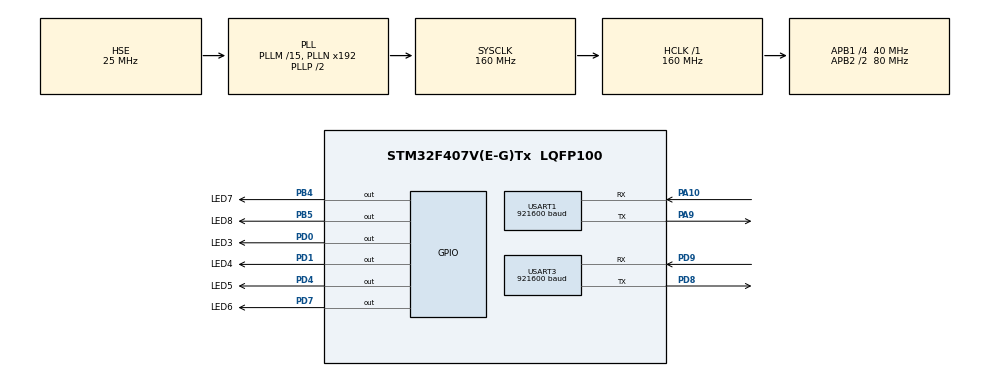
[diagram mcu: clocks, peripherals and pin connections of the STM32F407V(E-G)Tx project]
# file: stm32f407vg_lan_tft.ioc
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Mcu.Family=STM32F4
Mcu.Name=STM32F407V(E-G)Tx
Mcu.Package=LQFP100
NVIC.PriorityGroup=NVIC_PRIORITYGROUP_4
PA10.Mode=Asynchronous
PA10.Signal=USART1_RX
PA13.Mode=Serial_Wire
PA13.Signal=SYS_JTMS-SWDIO
PA14.Mode=Serial_Wire
PA14.Signal=SYS_JTCK-SWCLK
PA9.Mode=Asynchronous
PA9.Signal=USART1_TX
PB4.GPIO_Label=LED7
PB4.Signal=GPIO_Output
PB5.GPIO_Label=LED8
PB5.Signal=GPIO_Output
PD0.GPIO_Label=LED3
PD0.Signal=GPIO_Output
PD1.GPIO_Label=LED4
PD1.Signal=GPIO_Output
PD4.GPIO_Label=LED5
PD4.Signal=GPIO_Output
PD7.GPIO_Label=LED6
PD7.Signal=GPIO_Output
PD8.Mode=Asynchronous
PD8.Signal=USART3_TX
PD9.Mode=Asynchronous
PD9.Signal=USART3_RX
PH0-OSC_IN.Mode=HSE-External-Oscillator
PH0-OSC_IN.Signal=RCC_OSC_IN
PH1-OSC_OUT.Mode=HSE-External-Oscillator
PH1-OSC_OUT.Signal=RCC_OSC_OUT
ProjectManager.HeapSize=0x200
ProjectManager.StackSize=0x400
ProjectManager.TargetToolchain=EWARM V8.50
RCC.48MHZClocksFreq_Value=80000000
RCC.AHBFreq_Value=160000000
RCC.APB1CLKDivider=RCC_HCLK_DIV4
RCC.APB1Freq_Value=40000000
RCC.APB1TimFreq_Value=80000000
RCC.APB2CLKDivider=RCC_HCLK_DIV2
RCC.APB2Freq_Value=80000000
RCC.APB2TimFreq_Value=160000000
RCC.CortexFreq_Value=160000000
RCC.HCLKFreq_Value=160000000
RCC.HSE_VALUE=25000000
RCC.HSI_VALUE=16000000
RCC.LSE_VALUE=32768
RCC.PLLM=15
RCC.PLLSourceVirtual=RCC_PLLSOURCE_HSE
RCC.SYSCLKFreq_VALUE=160000000
RCC.SYSCLKSource=RCC_SYSCLKSOURCE_PLLCLK
RCC.VCOOutputFreq_Value=320000000
USART1.BaudRate=921600
USART1.VirtualMode=VM_ASYNC
USART3.BaudRate=921600
USART3.VirtualMode=VM_ASYNC
board=custom

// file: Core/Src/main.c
/* USER CODE BEGIN Header */
/**
  ******************************************************************************
  * @file           : main.c
  * @brief          : Main program body
  ******************************************************************************
  * @attention
  *
  * Copyright (c) 2026 STMicroelectronics.
  * All rights reserved.
  *
  * This software is licensed under terms that can be found in the LICENSE file
  * in the root directory of this software component.
  * If no LICENSE file comes with this software, it is provided AS-IS.
  *
  ******************************************************************************
  */
/* USER CODE END Header */
#include "main.h"

/* USER CODE BEGIN Includes */
#include <string.h>
#include "lwip/init.h"
#include "lwip/netif.h"
#include "lwip/dhcp.h"
#include "lwip/timeouts.h"
#include "lwip/ip4_addr.h"
#include "netif/ethernet.h"
#include "ethernetif.h"
#include "tcp_echo_client.h"
#include "stm32f4xx_hal_eth.h"
#include "lwip/stats.h"
#include "tft_app.h"
#include "device_config.h"
#include "config_server.h"
#include "config_http.h"
#include "diag_cpu.h"
#include "clock.h"
#include "can_bus.h"
#include "diag_can.h"
#include "keypad.h"
#include "debug_uart.h"
/* USER CODE END Includes */

UART_HandleTypeDef huart1;
UART_HandleTypeDef huart3;

/* USER CODE BEGIN PV */
struct netif gnetif;
extern ETH_HandleTypeDef EthHandle; /* defined in ethernetif.c */
/* USER CODE END PV */

void SystemClock_Config(void);
static void MX_GPIO_Init(void);
static void MX_USART1_UART_Init(void);
static void MX_USART3_UART_Init(void);
static void Test_Blink_LEDs(void);
/* USER CODE BEGIN PFP */
static void MX_LWIP_Init(void);
static void netif_status_callback(struct netif *netif);
/* USER CODE END PFP */

/* USER CODE BEGIN 0 */

/* Keypad commands for the display. A group ended by '#':
     no characters     -> next page ("#")
     1..3 digits       -> that page, as in the "n/N" indicator ("3#", "12#");
                          a number with no such page is ignored
   Anything else is ordinary input: passwords are at least 4 digits or start
   with a letter, so they never look like a page command. Digits before '#',
   not after: the module sends a group only when '#' ends it. */
#define KBD_PAGE_CMD_MAX_DIGITS  3U

static void on_keypad(const KeypadPacket *p)
{
  uint16_t number = 0U;
  uint8_t  n;

  if ((p->type != KBD_PKT_GROUP) || (p->len == 0U) || (p->data[0] != KBD_END_ENTER))
  {
    return;
  }
  n = (uint8_t)(p->len - 1U);                 /* characters after the reason byte */
  if (n == 0U)
  {
    TFT_App_NextPage();
    return;
  }
  if (n > KBD_PAGE_CMD_MAX_DIGITS)
  {
    return;
  }
  for (uint8_t i = 1U; i <= n; i++)
  {
    if ((p->data[i] < (uint8_t)'0') || (p->data[i] > (uint8_t)'9'))
    {
      return;                                 /* a letter: not a page command */
    }
    number = (uint16_t)(number * 10U + (uint16_t)(p->data[i] - (uint8_t)'0'));
  }
  if (number <= 255U)
  {
    (void)TFT_App_ShowPage((uint8_t)number);  /* 0 or past the last page: ignored */
  }
}

/* USER CODE END 0 */

int main(void)
{

  /* MCU Configuration--------------------------------------------------------*/

  /* Reset of all peripherals, Initializes the Flash interface and the Systick. */
  HAL_Init();

  /* USER CODE BEGIN Init */
  /* Hold the LAN8720 in reset (PB10/nRST) as early as firmware can run, before
     R3's 10k pull-up can release it on its own while VDD/clocks are still
     ramping up. Previously nRST wasn't touched by firmware until deep inside
     HAL_ETH_MspInit() (called from MX_LWIP_Init() below), well after
     SystemClock_Config() and other peripheral inits - confirmed on real
     hardware (PROJECT_GUIDE.md) that manually grounding nRST starting from
     power-up (instead of relying on R3 + this late firmware assert) was
     needed to reliably get the LAN8720's REFCLKO block to start. Asserting
     nRST here, before anything else, removes most of that gap; the actual
     5 s hold + release still happens later in HAL_ETH_MspInit(). */
  {
    GPIO_InitTypeDef nrst_early = {0};
    __HAL_RCC_GPIOB_CLK_ENABLE();
    nrst_early.Pin = GPIO_PIN_10;
    nrst_early.Mode = GPIO_MODE_OUTPUT_PP;
    nrst_early.Pull = GPIO_NOPULL;
    nrst_early.Speed = GPIO_SPEED_FREQ_LOW;
    HAL_GPIO_Init(GPIOB, &nrst_early);
    HAL_GPIO_WritePin(GPIOB, GPIO_PIN_10, GPIO_PIN_RESET);
  }
  /* USER CODE END Init */

  /* Configure the system clock */
  SystemClock_Config();

  /* Initialize all configured peripherals */
  MX_GPIO_Init();
  TFT_App_GPIO_Init();
  MX_USART1_UART_Init();
  MX_USART3_UART_Init();
  /* USER CODE BEGIN 2 */
  /* USART1 debug output through a DMA ring from here on - Debug_Print()
     no longer blocks the main loop (see Core/Inc/debug_uart.h). */
  debug_uart_init();
  /* Print the firmware build date/time on every boot (cold-boot or
     NVIC_SystemReset() escalation alike) so a pasted log can always be
     matched to the exact binary that produced it - __DATE__/__TIME__ are
     baked in by the compiler at build time, so this can't go stale the way
     a manually-maintained version number could. */
  {
    char boot_msg[64];
    snprintf(boot_msg, sizeof(boot_msg), "\r\n[boot] firmware built %s %s\r\n", __DATE__, __TIME__);
    Debug_Print(boot_msg);
  }
  /* Load persisted settings (server address, device name, static-IP-vs-DHCP
     choice - see Config/Inc/device_config.h) before anything that needs
     them: the SETUP page's SERVER:/NAME: rows below, and MX_LWIP_Init()'s
     static/DHCP branch further down. Falls back to compiled-in defaults on
     first boot (blank Flash) or a version mismatch. */
  device_config_load();

  /* TFT bring-up runs before lwIP so its blocking HAL_Delay()s can't stall
     Ethernet RX/DHCP; the panel just shows a static test pattern afterwards. */
  TFT_App_SPI3_Init();
  {
    const DeviceConfig *cfg = device_config_get();
    char server_str[24];
    snprintf(server_str, sizeof(server_str), "%u.%u.%u.%u:%u",
             cfg->server_ip[0], cfg->server_ip[1], cfg->server_ip[2], cfg->server_ip[3], cfg->server_port);
    TFT_App_SmokeTest(server_str, cfg->name);
  }
  MX_LWIP_Init();
  tcp_echo_client_init();
  config_server_init();
  config_http_init();
  clock_init();     /* Clock/: NTP time for the CLOCK page, see clock_config.h */
  diag_can_init();      /* Diag/: CAN loopback self-test if DIAG_CAN_LOOPBACK */
  (void)can_bus_init(); /* CAN/: CAN1 on J3, receive + log, see can_config.h */
  keypad_init();        /* Keypad/: I2C1 slave on SV5, 4x4 keypad module, see keypad_config.h */
  keypad_set_handler(on_keypad);  /* '#' / 'N#' switch display pages */
  diag_cpu_init();  /* Diag/: main-loop load stats, see diag_config.h */
  /* USER CODE END 2 */

  /* Infinite loop */
  /* USER CODE BEGIN WHILE */
  while (1)
  {
    diag_cpu_loop();
    Test_Blink_LEDs();
    diag_cpu_begin(DIAG_SECT_HTTP);
    config_http_poll();
    diag_cpu_end(DIAG_SECT_HTTP);

    /* A config save (from the web page or the port-7000 text protocol) bumps
       device_config_revision(). React here, so neither config module needs
       to know about the display or the TCP client: refresh SERVER:/NAME: on
       the SETUP page, and if the server address itself changed, drop the
       current connection and reconnect to the new one right away. IP-mode
       changes are not handled here - they need a reboot (MX_LWIP_Init()). */
    {
      static uint32_t seen_rev = 0U;
      static uint8_t  seen_ip[4];
      static uint16_t seen_port;
      static uint8_t  seen_init = 0U;
      const DeviceConfig *cfg = device_config_get();

      if (seen_init == 0U)
      {
        memcpy(seen_ip, cfg->server_ip, sizeof(seen_ip));
        seen_port = cfg->server_port;
        seen_init = 1U;
      }
      if (device_config_revision() != seen_rev)
      {
        char server_str[24];

        seen_rev = device_config_revision();
        snprintf(server_str, sizeof(server_str), "%u.%u.%u.%u:%u",
                 cfg->server_ip[0], cfg->server_ip[1], cfg->server_ip[2], cfg->server_ip[3], cfg->server_port);
        TFT_App_UpdateInfo(server_str, cfg->name);

        if ((memcmp(seen_ip, cfg->server_ip, sizeof(seen_ip)) != 0) || (seen_port != cfg->server_port))
        {
          memcpy(seen_ip, cfg->server_ip, sizeof(seen_ip));
          seen_port = cfg->server_port;
          tcp_echo_client_restart();
        }
      }
    }

    /* Drain all pending ETH RX frames. Called unconditionally: the internal
       do-while exits immediately when nothing is pending, so the cost is one
       cheap HAL_ETH_ReadData call that returns NULL.  Avoids a race where
       EthRxPending was already cleared when the last ISR fired but a frame
       is still waiting in the DMA descriptor ring. */
    diag_cpu_begin(DIAG_SECT_ETH);
    ethernetif_input(&gnetif);

    /* Poll PHY link state and lwIP's own timers (ARP, DHCP, TCP, ...) -
       NO_SYS=1 means nothing else is going to do this for us. */
    ethernetif_poll_link(&gnetif);
    diag_cpu_end(DIAG_SECT_ETH);
    diag_cpu_begin(DIAG_SECT_LWIP);
    sys_check_timeouts();
    diag_cpu_end(DIAG_SECT_LWIP);

    can_bus_poll();  /* CAN1 RX queue -> log/handler, bus state */
    diag_can_poll();  /* loopback self-test step (empty stub when off) */
    keypad_poll();    /* keypad packets from the I2C1 interrupt -> log/handler */

    /* DHCP fallback: in DHCP mode, if the link is up but no DHCP server has
       answered within DHCP_FALLBACK_MS, take the configured static IP ("IP
       по умолчанию", see device_config_fallback_addr()) so a PC can still
       reach the web page - e.g. module cabled straight to a PC, no router.
       While on the fallback address DHCP keeps trying: dhcp_start() is
       re-armed every DHCP_RETRY_MS (the client's own backoff alone was seen
       to never bind again), and a lease simply replaces the fallback
       address (dhcp_bind() -> netif_set_addr()).
       Reboot escalation: on this board DHCP sometimes can't succeed after a
       cold power-on until the MCU is rebooted (see the "no IP" watchdog
       below and docs/PROJECT_GUIDE.md) - seen again here: stuck on the
       default IP for 10+ minutes behind a working router, one soft reset
       and the lease came at once. So if there is still no lease after
       DHCP_FALLBACK_REBOOT_MS on the default IP and nobody is using that
       address (no web page / port 7000 request since the fallback, or none
       for CONFIG_IDLE_MS), reboot. With a PC cabled straight to the module
       the page is reachable in each window and opening it stops the reboots. */
    #define DHCP_FALLBACK_MS        10000U
    #define DHCP_RETRY_MS           30000U
    #define DHCP_FALLBACK_REBOOT_MS 60000U
    #define CONFIG_IDLE_MS          300000U
    {
      static uint8_t  dhcp_waiting = 0U;
      static uint32_t dhcp_wait_since = 0U;
      static uint32_t dhcp_last_retry = 0U;
      static uint8_t  on_fallback = 0U;
      static uint32_t fallback_since = 0U;

      if (device_config_get()->use_static_ip != 0U)
      {
        dhcp_waiting = 0U;
        on_fallback = 0U;
      }
      else if (!netif_is_link_up(&gnetif))
      {
        /* on_fallback deliberately kept: an ETH reset drops the link for a
           moment, and restarting the reboot timer on every one of those
           kept the module on the default IP for 5 minutes. */
        dhcp_waiting = 0U;
      }
      else if (ip4_addr_isany_val(*netif_ip4_addr(&gnetif)))
      {
        if (dhcp_waiting == 0U)
        {
          dhcp_waiting = 1U;
          dhcp_wait_since = HAL_GetTick();
        }
        else if ((HAL_GetTick() - dhcp_wait_since) >= DHCP_FALLBACK_MS)
        {
          uint8_t a[4], m[4], g[4];
          ip4_addr_t ipaddr, netmask, gw;

          device_config_fallback_addr(a, m, g);
          IP4_ADDR(&ipaddr,  a[0], a[1], a[2], a[3]);
          IP4_ADDR(&netmask, m[0], m[1], m[2], m[3]);
          IP4_ADDR(&gw,      g[0], g[1], g[2], g[3]);
          netif_set_addr(&gnetif, &ipaddr, &netmask, &gw);
          Debug_Print("[lwip] no DHCP answer, using default IP\r\n");
          dhcp_waiting = 0U;
          dhcp_last_retry = HAL_GetTick();
          on_fallback = 1U;
          fallback_since = HAL_GetTick();
        }
      }
      else
      {
        dhcp_waiting = 0U;
        if (dhcp_supplied_address(&gnetif))
        {
          on_fallback = 0U;
        }
        else if (netif_is_up(&gnetif) && ((HAL_GetTick() - dhcp_last_retry) >= DHCP_RETRY_MS))
        {
          dhcp_last_retry = HAL_GetTick();
          dhcp_start(&gnetif);
          Debug_Print("[lwip] on default IP, retrying DHCP\r\n");
        }

        if ((on_fallback != 0U) && ((HAL_GetTick() - fallback_since) >= DHCP_FALLBACK_REBOOT_MS))
        {
          const uint32_t acc = device_config_last_access();
          const uint8_t  in_use = (uint8_t)((acc != 0U) && ((int32_t)(acc - fallback_since) >= 0) &&
                                  ((HAL_GetTick() - acc) < CONFIG_IDLE_MS));
          if (in_use == 0U)
          {
            Debug_Print("[lwip] still no DHCP lease on default IP, rebooting MCU\r\n");
            HAL_Delay(50); /* let the UART finish transmitting before reset */
            NVIC_SystemReset();
          }
        }
      }
    }

    /* Only talk to the server once we actually have an IP (DHCP-assigned). */
    {
      uint8_t has_ip = (netif_is_up(&gnetif) && !ip4_addr_isany_val(*netif_ip4_addr(&gnetif))) ? 1U : 0U;
      /* Where the IP came from, for the DHCP: row: 'S' static mode,
         'D' DHCP lease, 'F' default IP after DHCP timeout, '-' none yet. */
      char ip_src = (device_config_get()->use_static_ip != 0U) ? 'S' :
                    dhcp_supplied_address(&gnetif) ? 'D' : has_ip ? 'F' : '-';

      /* Feed the TFT status screen the same state this block already needs
         anyway - see tft_app.h for the ip_addr/link_up/tcp_state contract.
         TFT_App_AlivePoll() rate-limits itself to 1 Hz internally, so
         calling it every loop iteration here is cheap. */
      diag_cpu_begin(DIAG_SECT_TFT);
      TFT_App_AlivePoll(has_ip ? ip4_addr_get_u32(netif_ip4_addr(&gnetif)) : 0U,
                        netif_is_link_up(&gnetif) ? 1U : 0U,
                        ip_src,
                        tcp_echo_client_state_char());
      diag_cpu_end(DIAG_SECT_TFT);

      /* NTP time (Clock/): paces itself - one request an hour once set */
      clock_poll(has_ip);

      /* On the default IP there is no route to the TCP server anyway, and the
         client's failed connects would only trigger ETH resets. */
      if (has_ip && (ip_src != 'F'))
      {
        diag_cpu_begin(DIAG_SECT_TCP);
        tcp_echo_client_poll();
        diag_cpu_end(DIAG_SECT_TCP);

        /* Show whatever the server just sent back on the LAST MSG: row for
           2 s (TFT_App_ShowReceived() handles the timing/blanking itself,
           non-blocking) - only when tcp_echo_client_poll() above actually
           drained something new, so an unrelated call here can't restart
           the 2 s timer on stale text. */
        {
          char rx_snapshot[220];  /* match tcp_echo_client.c's LAST_RX_SNAPSHOT_SIZE */
          if (tcp_echo_client_take_last_rx(rx_snapshot, sizeof(rx_snapshot)) > 0U)
          {
            diag_cpu_begin(DIAG_SECT_TFT);
            TFT_App_ShowReceived(rx_snapshot);
            diag_cpu_end(DIAG_SECT_TFT);
          }
        }
      }

      /* Watchdog: DHCP lease loss/renewal clears the netif's IP
         (dhcp_release_and_stop() -> netif_set_addr(ANY)) until a fresh
         lease completes - confirmed in lwIP source (dhcp.c). While the IP
         is missing, tcp_echo_client_poll() above is skipped entirely, so
         the existing "3 failed TCP connects -> ethernetif_reset()" recovery
         path never gets a chance to run either - there is otherwise no
         self-healing at all for a stuck DHCP renewal. Observed on real
         hardware: IP missing for an entire hour with no recovery (see
         PROJECT_GUIDE.md). DHCP on a healthy LAN completes in well under a
         second, so anything stuck this long needs the same hardware-level
         kick used for wedged TCP. Lowered from 90s: that long a wait only
         delayed the inevitable - logs show ethernetif_reset() alone often
         doesn't get DHCP working again even though link/hardware recover
         fine, while a full MCU reboot reliably does within ~5s (see
         PROJECT_GUIDE.md) - so waiting it out in place wastes minutes for
         nothing. Shorter timeout = fewer wasted seconds before falling
         through to the escalation reboot below. */
      #define DHCP_STUCK_TIMEOUT_MS 15000U
      /* When ETH hardware itself is known broken (g_eth_hw_failed, set by
         low_level_init() on a HAL_ETH_Init() failure and cleared on success
         - see ethernetif.c/.h), there is nothing to "wait out":
         eth_check_refclk_pa1() already gave a definitive answer in seconds.
         Retry almost immediately instead of waiting the full
         DHCP_STUCK_TIMEOUT_MS (that long timeout exists for a genuinely
         different case - ETH hardware fine, DHCP server just
         slow/unresponsive).
         NOTE: g_eth_debug_marker==100 was used here originally, but that is
         WRONG - MX_LWIP_Init() unconditionally overwrites
         g_eth_debug_marker right after the very first low_level_init()
         call (via netif_add()), clobbering the 100 a cold-boot failure had
         just set, so that condition never actually fired on real hardware
         (confirmed: heartbeat kept showing LINK_DOWN instead of INIT_FAIL,
         and the fast retry never kicked in - the 90s DHCP_STUCK_TIMEOUT_MS
         ran every time instead). g_eth_hw_failed is written nowhere else,
         so it can't be clobbered the same way. See PROJECT_GUIDE.md. */
      #define ETH_INIT_FAIL_RETRY_MS 2000U
      /* Escalation: ethernetif_reset() alone (nRST pulse + MDIO, board
         power left on) sometimes cannot get DHCP working again even once
         the hardware/link itself recover fine - confirmed on real hardware
         that only a full MCU reboot (through main(), where nRST is now
         asserted as the very first thing - see above) reliably recovers it
         in that case. If the watchdog has had to force a reset this many
         times in a row with no successful IP in between, stop retrying in
         place and reboot the whole MCU instead, so the next boot gets the
         benefit of that early nRST assert - same effect as the manual
         "ground nRST during a restart" fix, with no human needed. Lowered
         from 3 to 2: logs show soft resets don't reliably fix this specific
         failure mode anyway, so a 3rd in-place retry is just wasted time
         that a reboot already proven to work could have used instead. See
         PROJECT_GUIDE.md. */
      #define ETH_RESET_ESCALATE_AFTER 2U
      {
        static uint32_t ip_missing_since = 0;
        static uint32_t reset_escalation_count = 0;

        if (has_ip)
        {
          ip_missing_since = 0;
          reset_escalation_count = 0;
        }
        else if (!g_eth_hw_failed && !netif_is_link_up(&gnetif))
        {
          /* Cable out: no IP is expected, not a stuck DHCP - resetting ETH
             or rebooting can't help. Restart the clock once the link is
             back. (Only reachable since ethernetif_poll_link() really sees
             link-down; before that fix the netif never left LINK_UP.) */
          ip_missing_since = 0;
        }
        else if (ip_missing_since == 0)
        {
          ip_missing_since = HAL_GetTick();
        }
        else if ((HAL_GetTick() - ip_missing_since) >=
                 (g_eth_hw_failed ? ETH_INIT_FAIL_RETRY_MS : DHCP_STUCK_TIMEOUT_MS))
        {
          reset_escalation_count++;
          if (reset_escalation_count >= ETH_RESET_ESCALATE_AFTER)
          {
            Debug_Print("[lwip] ETH reset escalation exhausted, rebooting MCU\r\n");
            HAL_Delay(50); /* let the UART finish transmitting before reset */
            NVIC_SystemReset();
          }
          Debug_Print("[lwip] no IP for too long, forcing ETH reset\r\n");
          ethernetif_reset(&gnetif);
          ip_missing_since = 0;
        }
      }
    }

    /* Periodic heartbeat so UART output is visible even if the terminal was
       connected after boot.  Prints every 5 s regardless of ETH state. */
    {
      static uint32_t last_hb = 0;
      if ((HAL_GetTick() - last_hb) >= 5000U)
      {
        char hb[160];
        last_hb = HAL_GetTick();
        snprintf(hb, sizeof(hb), "[alive] t=%ums eth=%s phy=%d txbuf=%lu rxalloc=%u tcp=%c heap=%u/%u sndq=%u\r\n",
                 (unsigned)HAL_GetTick(),
                 g_eth_hw_failed            ? "INIT_FAIL" :
                 netif_is_link_up(&gnetif)    ? "LINK_UP"   : "LINK_DOWN",
                 (int)g_eth_last_phy_link_state,
                 (unsigned long)EthHandle.TxDescList.BuffersInUse,
                 (unsigned)g_eth_rx_alloc_status,
                 tcp_echo_client_state_char(),
                 (unsigned)lwip_stats.mem.used, (unsigned)lwip_stats.mem.avail,
                 (unsigned)tcp_echo_client_sndqueuelen());
        Debug_Print(hb);
      }
    }
    /* USER CODE END WHILE */

  }
}

void SystemClock_Config(void)
{
  RCC_OscInitTypeDef RCC_OscInitStruct = {0};
  RCC_ClkInitTypeDef RCC_ClkInitStruct = {0};

  /** Configure the main internal regulator output voltage
  */
  __HAL_RCC_PWR_CLK_ENABLE();
  __HAL_PWR_VOLTAGESCALING_CONFIG(PWR_REGULATOR_VOLTAGE_SCALE1);

  /** Initializes the RCC Oscillators according to the specified parameters
  * in the RCC_OscInitTypeDef structure.
  */
  RCC_OscInitStruct.OscillatorType = RCC_OSCILLATORTYPE_HSE;
  RCC_OscInitStruct.HSEState = RCC_HSE_ON;
  RCC_OscInitStruct.PLL.PLLState = RCC_PLL_ON;
  RCC_OscInitStruct.PLL.PLLSource = RCC_PLLSOURCE_HSE;
  RCC_OscInitStruct.PLL.PLLM = 15;
  RCC_OscInitStruct.PLL.PLLN = 192;
  RCC_OscInitStruct.PLL.PLLP = RCC_PLLP_DIV2;
  RCC_OscInitStruct.PLL.PLLQ = 4;
  if (HAL_RCC_OscConfig(&RCC_OscInitStruct) != HAL_OK)
  {
    Error_Handler();
  }

  /** Initializes the CPU, AHB and APB buses clocks
  */
  RCC_ClkInitStruct.ClockType = RCC_CLOCKTYPE_HCLK|RCC_CLOCKTYPE_SYSCLK
                              |RCC_CLOCKTYPE_PCLK1|RCC_CLOCKTYPE_PCLK2;
  RCC_ClkInitStruct.SYSCLKSource = RCC_SYSCLKSOURCE_PLLCLK;
  RCC_ClkInitStruct.AHBCLKDivider = RCC_SYSCLK_DIV1;
  RCC_ClkInitStruct.APB1CLKDivider = RCC_HCLK_DIV4;
  RCC_ClkInitStruct.APB2CLKDivider = RCC_HCLK_DIV2;

  if (HAL_RCC_ClockConfig(&RCC_ClkInitStruct, FLASH_LATENCY_5) != HAL_OK)
  {
    Error_Handler();
  }

  /* MCO1 (PA8) = HSE/1 = 25 MHz: backup reference for LAN8720 XTAL1/CLKIN.
     The onboard 25 MHz crystal (XTAL2, near LAN8720) drives U2 pad 5 via the
     XTAL.1 net.  If that crystal is absent or defective, LAN8720 has no PLL
     reference and NINT/REFCLKO stays silent → DMABMR.SWR never clears.
     HAL_RCC_MCOConfig configures PA8 GPIO automatically (AF0 push-pull VH).
     HARDWARE (only needed if crystal is bad/absent):
       connect a short wire from PA8 (STM32 pin 67) to XTAL2 crystal pad 1
       (the pad on the XTAL.1 net = LAN8720 XTAL1/CLKIN side, NOT the XTAL2 side). */
  HAL_RCC_MCOConfig(RCC_MCO1, RCC_MCO1SOURCE_HSE, RCC_MCODIV_1);
}

static void MX_USART1_UART_Init(void)
{

  huart1.Instance = USART1;
  huart1.Init.BaudRate = 921600;
  huart1.Init.WordLength = UART_WORDLENGTH_8B;
  huart1.Init.StopBits = UART_STOPBITS_1;
  huart1.Init.Parity = UART_PARITY_NONE;
  huart1.Init.Mode = UART_MODE_TX_RX;
  huart1.Init.HwFlowCtl = UART_HWCONTROL_NONE;
  huart1.Init.OverSampling = UART_OVERSAMPLING_16;
  if (HAL_UART_Init(&huart1) != HAL_OK)
  {
    Error_Handler();
  }

}

static void MX_USART3_UART_Init(void)
{

  huart3.Instance = USART3;
  huart3.Init.BaudRate = 921600;
  huart3.Init.WordLength = UART_WORDLENGTH_8B;
  huart3.Init.StopBits = UART_STOPBITS_1;
  huart3.Init.Parity = UART_PARITY_NONE;
  huart3.Init.Mode = UART_MODE_TX_RX;
  huart3.Init.HwFlowCtl = UART_HWCONTROL_NONE;
  huart3.Init.OverSampling = UART_OVERSAMPLING_16;
  if (HAL_UART_Init(&huart3) != HAL_OK)
  {
    Error_Handler();
  }

}

static void MX_GPIO_Init(void)
{
  GPIO_InitTypeDef GPIO_InitStruct = {0};

  /* GPIO Ports Clock Enable */
  __HAL_RCC_GPIOH_CLK_ENABLE();
  __HAL_RCC_GPIOD_CLK_ENABLE();
  __HAL_RCC_GPIOA_CLK_ENABLE();
  __HAL_RCC_GPIOB_CLK_ENABLE();

  /*Configure GPIO pin Output Level */
  HAL_GPIO_WritePin(GPIOD, LED3_Pin|LED4_Pin|LED5_Pin|LED6_Pin, GPIO_PIN_RESET);

  /*Configure GPIO pin Output Level */
  HAL_GPIO_WritePin(GPIOB, LED7_Pin|LED8_Pin, GPIO_PIN_RESET);

  /*Configure GPIO pins : LED3_Pin LED4_Pin LED5_Pin LED6_Pin */
  GPIO_InitStruct.Pin = LED3_Pin|LED4_Pin|LED5_Pin|LED6_Pin;
  GPIO_InitStruct.Mode = GPIO_MODE_OUTPUT_PP;
  GPIO_InitStruct.Pull = GPIO_NOPULL;
  GPIO_InitStruct.Speed = GPIO_SPEED_FREQ_LOW;
  HAL_GPIO_Init(GPIOD, &GPIO_InitStruct);

  /*Configure GPIO pins : LED7_Pin LED8_Pin */
  GPIO_InitStruct.Pin = LED7_Pin|LED8_Pin;
  GPIO_InitStruct.Mode = GPIO_MODE_OUTPUT_PP;
  GPIO_InitStruct.Pull = GPIO_NOPULL;
  GPIO_InitStruct.Speed = GPIO_SPEED_FREQ_LOW;
  HAL_GPIO_Init(GPIOB, &GPIO_InitStruct);

  /* USER CODE BEGIN MX_GPIO_Init_2 */
  /* TFT control lines (CS/DC/RST/BL) are set up by TFT_App_GPIO_Init(),
     called right after this from main() - kept out of here so the whole
     display module stays self-contained under Display/ (see tft_app.c). */
  /* USER CODE END MX_GPIO_Init_2 */
}

/* USER CODE BEGIN 4 */

/**
  * @brief  Sequential LED chase, 200 ms per LED - same visual effect as
  *         before, but non-blocking (HAL_Delay() would stall the whole main
  *         loop, including Ethernet RX/TX and lwIP timers, for ~1.2 s per
  *         call). Safe to call every main-loop iteration.
  */
void Test_Blink_LEDs(void)
{
  static const struct
  {
    GPIO_TypeDef *port;
    uint16_t pin;
  } leds[6] =
  {
    {GPIOD, LED3_Pin}, {GPIOD, LED4_Pin}, {GPIOD, LED5_Pin},
    {GPIOD, LED6_Pin}, {GPIOB, LED7_Pin}, {GPIOB, LED8_Pin},
  };
  static uint8_t current = 0;
  static uint32_t next_tick = 0;
  static uint8_t started = 0;

  if (!started)
  {
    HAL_GPIO_WritePin(leds[current].port, leds[current].pin, GPIO_PIN_SET);
    next_tick = HAL_GetTick() + 200U;
    started = 1;
    return;
  }

  if ((int32_t)(HAL_GetTick() - next_tick) < 0)
  {
    return;
  }

  HAL_GPIO_WritePin(leds[current].port, leds[current].pin, GPIO_PIN_RESET);
  current = (uint8_t)((current + 1U) % 6U);
  HAL_GPIO_WritePin(leds[current].port, leds[current].pin, GPIO_PIN_SET);
  next_tick = HAL_GetTick() + 200U;
}

/**
  * @brief  Bring up lwIP and the Ethernet netif - static IP or DHCP,
  *         per device_config_get()->use_static_ip (device_config_load()
  *         must have already run - see main(), USER CODE 2). Switching
  *         between the two modes needs a reboot to take effect (this
  *         function only runs once, at boot) - config_server.c's "SET IP
  *         ..." commands say so in their reply.
  */
static void MX_LWIP_Init(void)
{
  const DeviceConfig *cfg = device_config_get();
  ip4_addr_t ipaddr, netmask, gw;

  g_eth_debug_marker = 50;
  lwip_init();
  g_eth_debug_marker = 51;

  if (cfg->use_static_ip != 0U)
  {
    IP4_ADDR(&ipaddr,  cfg->static_ip[0],      cfg->static_ip[1],      cfg->static_ip[2],      cfg->static_ip[3]);
    IP4_ADDR(&netmask, cfg->static_netmask[0], cfg->static_netmask[1], cfg->static_netmask[2], cfg->static_netmask[3]);
    IP4_ADDR(&gw,      cfg->static_gw[0],      cfg->static_gw[1],      cfg->static_gw[2],      cfg->static_gw[3]);
  }
  else
  {
    /* All zero: ethernetif_init()/dhcp_start() will fill the real address in. */
    IP4_ADDR(&ipaddr, 0, 0, 0, 0);
    IP4_ADDR(&netmask, 0, 0, 0, 0);
    IP4_ADDR(&gw, 0, 0, 0, 0);
  }

  ethernetif_set_use_dhcp((uint8_t)((cfg->use_static_ip != 0U) ? 0U : 1U));
  netif_add(&gnetif, &ipaddr, &netmask, &gw, NULL, &ethernetif_init, &ethernet_input);
  g_eth_debug_marker = 52;
  netif_set_default(&gnetif);
  netif_set_status_callback(&gnetif, netif_status_callback);
  g_eth_debug_marker = 53;

  if (netif_is_link_up(&gnetif))
  {
    netif_set_up(&gnetif);
    if (cfg->use_static_ip != 0U)
    {
      /* Address is already fixed above - no DHCP transaction needed, and
         netif_set_up() alone is what fires netif_status_callback() so the
         IP shows up on the SETUP page / UART log same as the DHCP path. */
      Debug_Print("[lwip] link up, using static IP\r\n");
    }
    else
    {
      dhcp_start(&gnetif);
      Debug_Print("[lwip] link up, DHCP started\r\n");
    }
    g_eth_debug_marker = 54;
  }
  else
  {
    netif_set_down(&gnetif);
    Debug_Print("[lwip] link down at startup, will retry via ethernetif_poll_link()\r\n");
  }
}

/**
  * @brief  Fires whenever the netif's flags/IP change - in particular once
  *         DHCP hands us a lease. Prints the address so it shows up on the
  *         debug UART (USART1, 921600 baud) without needing a debugger.
  */
static void netif_status_callback(struct netif *netif)
{
  if (netif_is_up(netif) && !ip4_addr_isany_val(*netif_ip4_addr(netif)))
  {
    char msg[64];
    snprintf(msg, sizeof(msg), "[lwip] IP: %s\r\n", ip4addr_ntoa(netif_ip4_addr(netif)));
    Debug_Print(msg);
  }
}

void Debug_Print(const char *msg)
{
  debug_uart_write(msg, (uint32_t)strlen(msg));
}

/* USER CODE END 4 */

void Error_Handler(void)
{
  __disable_irq();
  while (1)
  {
  }
}
